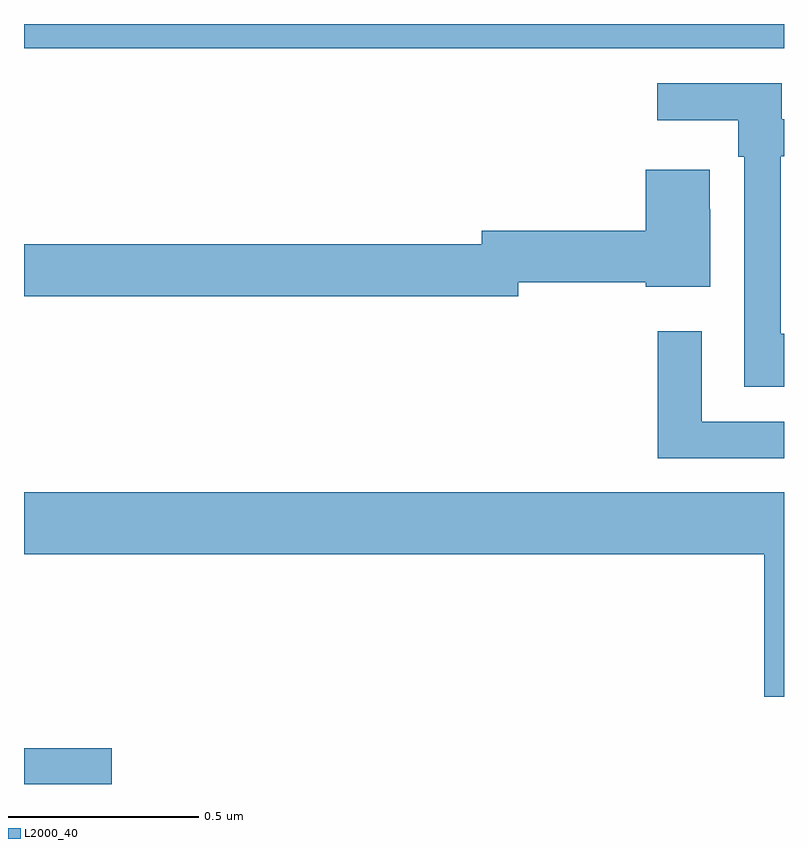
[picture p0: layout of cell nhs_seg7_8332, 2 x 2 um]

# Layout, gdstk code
import gdstk
lib = gdstk.Library(unit=1e-6, precision=1e-09)
def R(c, l, rs):  # rectangles x0, y0, x1, y1
    for r in rs: c.add(gdstk.rectangle(r[:2], r[2:], *l))
def P(c, l, *ps):  # polygons
    for p in ps: c.add(gdstk.Polygon(p, *l))
L2000_40 = (2000, 40)

nhs_seg7_8332 = lib.new_cell('nhs_seg7_8332')
R(nhs_seg7_8332, L2000_40, [(223,1012,223.231,1012.094), (223,1013.936,225,1014)])
P(nhs_seg7_8332, L2000_40, [(225,1013.185),(224.991,1013.185),(224.991,1013.652),(225,1013.652),(225,1013.75),(224.994,1013.75),(224.994,1013.844),(224.667,1013.844),(224.667,1013.747),(224.879,1013.747),(224.879,1013.651),(224.895,1013.651),(224.895,1013.045),(225,1013.045)],
  [(224.301,1013.32),(224.636,1013.32),(224.636,1013.309),(224.806,1013.309),(224.806,1013.513),(224.805,1013.513),(224.805,1013.616),(224.636,1013.616),(224.636,1013.456),(224.205,1013.456),(224.205,1013.42),(223,1013.42),(223,1013.284),(224.301,1013.284)],
  [(225,1012.953),(224.784,1012.953),(224.784,1013.191),(224.668,1013.191),(224.668,1012.857),(225,1012.857)],
  [(225,1012.768),(223,1012.768),(223,1012.604),(224.948,1012.604),(224.948,1012.23),(225,1012.23)])

lib.write_gds('nhs_seg7_8332.gds')
